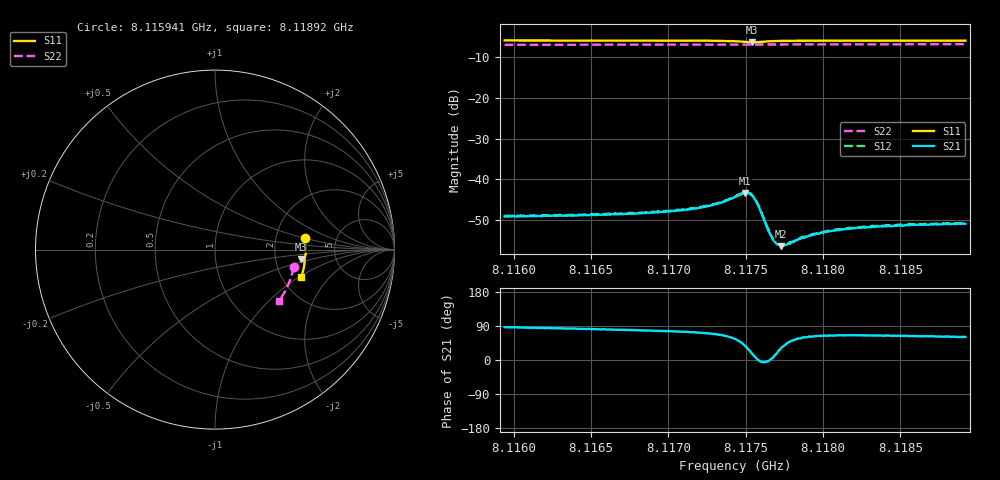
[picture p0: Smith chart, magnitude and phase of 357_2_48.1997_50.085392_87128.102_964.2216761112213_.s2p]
#  HZ  S  RI  R  50.00
! Rohde & Schwarz Vector Network Analyzer
! Rohde-Schwarz,ZNB20-2Port,1311601062101988,3.16
! Created: UTC 3/20/2024, 11:52:02 AM
! freq[Hz]  re:S11  im:S11  re:S21  im:S21  re:S12  im:S12  re:S22  im:S22
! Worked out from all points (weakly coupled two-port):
!   401 points, 8.115941 GHz to 8.11892 GHz, reference 50 ohm
!   highest |S21| = -43.40 dB at 8.117497 GHz (marker M1); lowest = -56.5 dB at 8.117728 GHz (marker M2)
!   lowest |S11| = -6.3 dB at 8.117542 GHz (marker M3), VSWR 2.86, Z = 140 - j18.8 ohm
!   |S11| at or under -10 dB: nowhere
!   |S22| runs from -7.0 to -6.8 dB; largest |S21 - S12| = 0.00018
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8.115941e9  0.5036 0.0626  0.000194 0.00348  0.000271 0.0035  0.4379 -0.0971
8.1164399e9  0.5062 0.0251  0.000496 0.00357  0.000589 0.00361  0.4303 -0.131
8.1169389e9  0.5057 -0.0132  0.000921 0.00384  0.000952 0.00389  0.4202 -0.1643
8.1170878e9  0.5046 -0.0252  0.0011 0.00399  0.00118 0.0041  0.4166 -0.174
8.1172442e9  0.5026 -0.0386  0.00154 0.00434  0.00162 0.00442  0.4126 -0.1842
8.117341e9  0.4997 -0.0478  0.00214 0.0047  0.0022 0.00476  0.41 -0.1905
8.1174304e9  0.4934 -0.0566  0.00341 0.00497  0.00354 0.00505  0.4073 -0.1963
8.1174974e9  0.4832 -0.0585  0.00542 0.00404  0.00555 0.00407  0.4049 -0.2003
8.1175197e9  0.48 -0.0559  0.00596 0.00301  0.0061 0.00306  0.4043 -0.2014
8.1175421e9  0.4787 -0.0515  0.006 0.00175  0.00614 0.00174  0.4035 -0.2027
8.1175644e9  0.4805 -0.0474  0.00542 0.000565  0.00548 0.000528  0.4032 -0.2039
8.1175867e9  0.4841 -0.0452  0.00447 -0.000126  0.00451 -0.000182  0.4029 -0.2053
8.1176463e9  0.4933 -0.0483  0.00234 -9.79e-05  0.00242 -0.000111  0.4014 -0.209
8.1176687e9  0.4955 -0.0507  0.00193 0.000153  0.00194 0.000116  0.4007 -0.2105
8.117691e9  0.4967 -0.0533  0.00162 0.000392  0.00167 0.0004  0.4003 -0.2119
8.1177282e9  0.4982 -0.0576  0.00128 0.000792  0.00136 0.000822  0.3993 -0.2145
8.117758e9  0.4986 -0.0608  0.00119 0.00102  0.00117 0.00101  0.3982 -0.2164
8.1178548e9  0.4988 -0.0703  0.00102 0.00156  0.00103 0.00163  0.3951 -0.2225
8.1179293e9  0.4985 -0.0769  0.000974 0.00183  0.00103 0.00183  0.3928 -0.2273
8.1181304e9  0.4961 -0.0932  0.00103 0.00221  0.00106 0.00225  0.3861 -0.2396
8.1184282e9  0.4912 -0.1159  0.00114 0.00238  0.00121 0.00244  0.3754 -0.2575
8.1189197e9  0.481 -0.1514  0.00138 0.00247  0.00143 0.00255  0.3559 -0.2861
